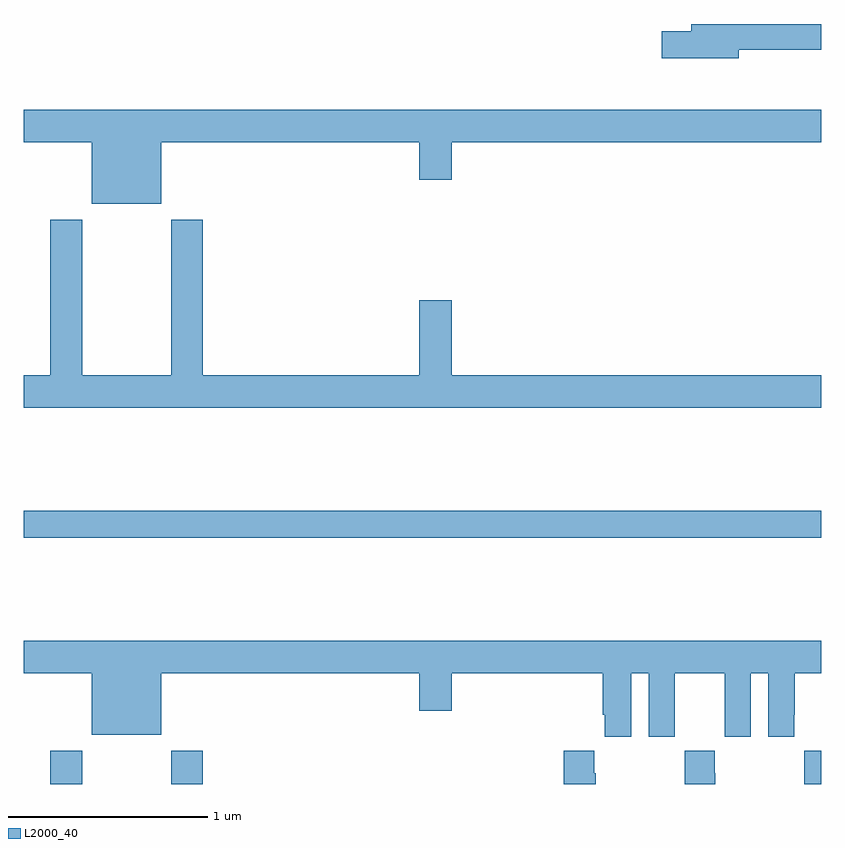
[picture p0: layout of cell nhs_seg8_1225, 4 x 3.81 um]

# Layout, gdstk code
import gdstk
lib = gdstk.Library(unit=1e-6, precision=1e-09)
def R(c, l, rs):  # rectangles x0, y0, x1, y1
    for r in rs: c.add(gdstk.rectangle(r[:2], r[2:], *l))
def P(c, l, *ps):  # polygons
    for p in ps: c.add(gdstk.Polygon(p, *l))
L2000_40 = (2000, 40)

nhs_seg8_1225 = lib.new_cell('nhs_seg8_1225')
R(nhs_seg8_1225, L2000_40, [(187.133,1159.9,187.293,1160.068), (187.738,1159.9,187.898,1160.068), (187,1161.136,191,1161.272)])
P(nhs_seg8_1225, L2000_40, [(190.588,1163.586),(191,1163.586),(191,1163.714),(190.349,1163.714),(190.349,1163.678),(190.2,1163.678),(190.2,1163.543),(190.588,1163.543)],
  [(187.69,1163.12),(188.984,1163.12),(188.984,1162.932),(189.148,1162.932),(189.148,1163.12),(191,1163.12),(191,1163.284),(187,1163.284),(187,1163.12),(187.34,1163.12),(187.34,1162.811),(187.69,1162.811)],
  [(191,1161.952),(189.148,1161.952),(189.148,1162.327),(188.984,1162.327),(188.984,1161.952),(187.898,1161.952),(187.898,1162.732),(187.738,1162.732),(187.738,1161.952),(187.293,1161.952),(187.293,1162.732),(187.133,1162.732),(187.133,1161.952),(187,1161.952),(187,1161.788),(191,1161.788)],
  [(187,1160.456),(187.34,1160.456),(187.34,1160.147),(187.69,1160.147),(187.69,1160.456),(188.984,1160.456),(188.984,1160.268),(189.148,1160.268),(189.148,1160.456),(189.905,1160.456),(189.905,1160.248),(189.914,1160.248),(189.914,1160.136),(190.048,1160.136),(190.048,1160.456),(190.136,1160.456),(190.136,1160.136),(190.266,1160.136),(190.266,1160.248),(190.267,1160.248),(190.267,1160.456),(190.517,1160.456),(190.517,1160.248),(190.518,1160.248),(190.518,1160.136),(190.648,1160.136),(190.648,1160.456),(190.736,1160.456),(190.736,1160.136),(190.866,1160.136),(190.866,1160.248),(190.867,1160.248),(190.867,1160.456),(191,1160.456),(191,1160.62),(187,1160.62)],
  [(190.917,1159.955),(190.915,1159.955),(190.915,1159.9),(191,1159.9),(191,1160.068),(190.917,1160.068)],
  [(190.47,1159.955),(190.467,1159.955),(190.467,1160.068),(190.317,1160.068),(190.317,1159.955),(190.315,1159.955),(190.315,1159.9),(190.47,1159.9)],
  [(189.87,1159.955),(189.863,1159.955),(189.863,1160.068),(189.71,1160.068),(189.71,1159.9),(189.87,1159.9)])

lib.write_gds('nhs_seg8_1225.gds')
